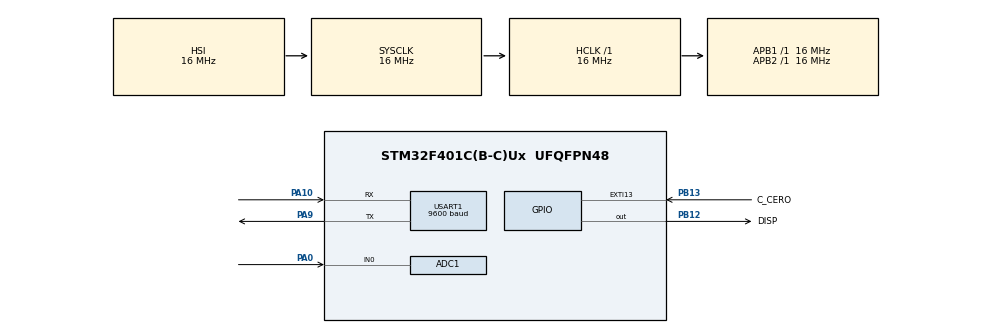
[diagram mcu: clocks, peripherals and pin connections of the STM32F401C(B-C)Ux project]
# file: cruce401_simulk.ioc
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ADC1.Channel-0\#ChannelRegularConversion=ADC_CHANNEL_0
ADC1.NbrOfConversionFlag=1
ADC1.Rank-0\#ChannelRegularConversion=1
ADC1.SamplingTime-0\#ChannelRegularConversion=ADC_SAMPLETIME_3CYCLES
ADC1.master=1
Dma.Request0=USART1_RX
Dma.USART1_RX.0.Direction=DMA_PERIPH_TO_MEMORY
Dma.USART1_RX.0.FIFOMode=DMA_FIFOMODE_DISABLE
Dma.USART1_RX.0.Instance=DMA2_Stream2
Dma.USART1_RX.0.MemDataAlignment=DMA_MDATAALIGN_BYTE
Dma.USART1_RX.0.MemInc=DMA_MINC_ENABLE
Dma.USART1_RX.0.Mode=DMA_NORMAL
Dma.USART1_RX.0.PeriphDataAlignment=DMA_PDATAALIGN_BYTE
Dma.USART1_RX.0.PeriphInc=DMA_PINC_DISABLE
Dma.USART1_RX.0.Priority=DMA_PRIORITY_LOW
Mcu.Family=STM32F4
Mcu.Name=STM32F401C(B-C)Ux
Mcu.Package=UFQFPN48
NVIC.DMA2_Stream2_IRQn=true\:0\:0\:false\:false\:true\:false\:true\:true
NVIC.EXTI15_10_IRQn=true\:0\:0\:false\:false\:true\:true\:true\:true
NVIC.PriorityGroup=NVIC_PRIORITYGROUP_4
NVIC.TIM5_IRQn=true\:0\:0\:false\:false\:true\:true\:true\:true
NVIC.USART1_IRQn=true\:0\:0\:false\:false\:true\:true\:true\:true
PA0-WKUP.Signal=ADCx_IN0
PA10.Mode=Asynchronous
PA10.Signal=USART1_RX
PA9.Mode=Asynchronous
PA9.Signal=USART1_TX
PB12.GPIO_Label=DISP
PB12.Signal=GPIO_Output
PB13.GPIO_Label=C_CERO
PB13.Signal=GPXTI13
ProjectManager.HeapSize=0x200
ProjectManager.StackSize=0x400
ProjectManager.TargetToolchain=STM32CubeIDE
RCC.AHBFreq_Value=16000000
RCC.APB1Freq_Value=16000000
RCC.APB2Freq_Value=16000000
RCC.CortexFreq_Value=16000000
RCC.HSE_VALUE=25000000
RCC.HSI_VALUE=16000000
RCC.LSE_VALUE=32768
RCC.SYSCLKFreq_VALUE=16000000
RCC.VCOOutputFreq_Value=192000000
SH.ADCx_IN0.0=ADC1_IN0,IN0
TIM5.Period=10000
TIM5.Prescaler=16-1
USART1.BaudRate=9600
USART1.VirtualMode=VM_ASYNC
VP_TIM5_VS_ClockSourceINT.Mode=Internal
board=custom

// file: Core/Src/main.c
/* USER CODE BEGIN Header */
/**
  ******************************************************************************
  * @file           : main.c
  * @brief          : Main program body
  ******************************************************************************
  * @attention
  *
  * Copyright (c) 2025 STMicroelectronics.
  * All rights reserved.
  *
  * This software is licensed under terms that can be found in the LICENSE file
  * in the root directory of this software component.
  * If no LICENSE file comes with this software, it is provided AS-IS.
  *
  ******************************************************************************
  */
/* USER CODE END Header */
#include "main.h"

/* USER CODE BEGIN Includes */
#include "pinout1.h"
#include "uart.h"
#include "delays.h"
#include "adc.h"
#include "MAP_.h"
#include "CRUCE_CERO.h"
#include "uart_int_idle_dma.h"

#include "stdio.h"
#include "stdint.h"
#include "string.h"
#include "stdlib.h"
/* USER CODE END Includes */

ADC_HandleTypeDef hadc1;

TIM_HandleTypeDef htim5;

UART_HandleTypeDef huart1;
DMA_HandleTypeDef hdma_usart1_rx;

/* USER CODE BEGIN PV */
char texto[100];
uint16_t codigo;
float tiempo,potencia,tiempo1;

/* USER CODE END PV */

void SystemClock_Config(void);
static void MX_GPIO_Init(void);
static void MX_DMA_Init(void);
static void MX_ADC1_Init(void);
static void MX_TIM5_Init(void);
static void MX_USART1_UART_Init(void);

/* USER CODE BEGIN 0 */
void procesa_rx()
{
	 //  P=50/
	 if (strstr(trama_rx,"P="))
		    {
		  strcpy(procesa, strtok(trama_rx, "="));  //inicia captura de tokens desde el =
			strcpy(procesa, strtok(0, "/"));  //captura hasta el /
			    //pasa la cadena a  numero
		    potencia=atoi(procesa);
				    }

}
/* USER CODE END 0 */

int main(void)
{

  /* MCU Configuration--------------------------------------------------------*/

  /* Reset of all peripherals, Initializes the Flash interface and the Systick. */
  HAL_Init();

  /* Configure the system clock */
  SystemClock_Config();

  /* Initialize all configured peripherals */
  MX_GPIO_Init();
  MX_DMA_Init();
  MX_ADC1_Init();
  MX_TIM5_Init();
  MX_USART1_UART_Init();
  /* USER CODE BEGIN 2 */

  cruce_init();
  uartdat_it_idle_dma_init();
  /* USER CODE END 2 */

  /* Infinite loop */
  /* USER CODE BEGIN WHILE */
  while (1)
  {

	  if(flag_rx==1)
	       {
			  procesa_rx();
			  tiempo1=map(potencia,0,100,LIM_SUP, LIM_INF);

			  flag_rx=0;
			 uartdat_it_idle_dma_init();
			 }

	  codigo=ADC_Read();
	  tiempo=map(codigo,0,4095,LIM_SUP, LIM_INF);
	  	  sprintf(texto,"VALOR=%u\r\n",codigo);
	  uartx_write_text(&huart1, texto);

	  sprintf(texto,"float=%.1f\r\n\r\n",tiempo);
 	  uartx_write_text(&huart1, texto);

 	 sprintf(texto,"POTENCIA=%.1f\r\n\r\n",potencia);
 	 	  	  uartx_write_text(&huart1, texto);

 		  sprintf(texto,"TEM1=%.1f\r\n\r\n\r\n",tiempo1);
 	 	  uartx_write_text(&huart1, texto);

	  Cruce_set(&tiempo1);
	  HAL_Delay(500);

    /* USER CODE END WHILE */

  }
}

void SystemClock_Config(void)
{
  RCC_OscInitTypeDef RCC_OscInitStruct = {0};
  RCC_ClkInitTypeDef RCC_ClkInitStruct = {0};

  /** Configure the main internal regulator output voltage
  */
  __HAL_RCC_PWR_CLK_ENABLE();
  __HAL_PWR_VOLTAGESCALING_CONFIG(PWR_REGULATOR_VOLTAGE_SCALE2);

  /** Initializes the RCC Oscillators according to the specified parameters
  * in the RCC_OscInitTypeDef structure.
  */
  RCC_OscInitStruct.OscillatorType = RCC_OSCILLATORTYPE_HSI;
  RCC_OscInitStruct.HSIState = RCC_HSI_ON;
  RCC_OscInitStruct.HSICalibrationValue = RCC_HSICALIBRATION_DEFAULT;
  RCC_OscInitStruct.PLL.PLLState = RCC_PLL_NONE;
  if (HAL_RCC_OscConfig(&RCC_OscInitStruct) != HAL_OK)
  {
    Error_Handler();
  }

  /** Initializes the CPU, AHB and APB buses clocks
  */
  RCC_ClkInitStruct.ClockType = RCC_CLOCKTYPE_HCLK|RCC_CLOCKTYPE_SYSCLK
                              |RCC_CLOCKTYPE_PCLK1|RCC_CLOCKTYPE_PCLK2;
  RCC_ClkInitStruct.SYSCLKSource = RCC_SYSCLKSOURCE_HSI;
  RCC_ClkInitStruct.AHBCLKDivider = RCC_SYSCLK_DIV1;
  RCC_ClkInitStruct.APB1CLKDivider = RCC_HCLK_DIV1;
  RCC_ClkInitStruct.APB2CLKDivider = RCC_HCLK_DIV1;

  if (HAL_RCC_ClockConfig(&RCC_ClkInitStruct, FLASH_LATENCY_0) != HAL_OK)
  {
    Error_Handler();
  }
}

static void MX_ADC1_Init(void)
{

  ADC_ChannelConfTypeDef sConfig = {0};

  /** Configure the global features of the ADC (Clock, Resolution, Data Alignment and number of conversion)
  */
  hadc1.Instance = ADC1;
  hadc1.Init.ClockPrescaler = ADC_CLOCK_SYNC_PCLK_DIV2;
  hadc1.Init.Resolution = ADC_RESOLUTION_12B;
  hadc1.Init.ScanConvMode = DISABLE;
  hadc1.Init.ContinuousConvMode = DISABLE;
  hadc1.Init.DiscontinuousConvMode = DISABLE;
  hadc1.Init.ExternalTrigConvEdge = ADC_EXTERNALTRIGCONVEDGE_NONE;
  hadc1.Init.ExternalTrigConv = ADC_SOFTWARE_START;
  hadc1.Init.DataAlign = ADC_DATAALIGN_RIGHT;
  hadc1.Init.NbrOfConversion = 1;
  hadc1.Init.DMAContinuousRequests = DISABLE;
  hadc1.Init.EOCSelection = ADC_EOC_SINGLE_CONV;
  if (HAL_ADC_Init(&hadc1) != HAL_OK)
  {
    Error_Handler();
  }

  /** Configure for the selected ADC regular channel its corresponding rank in the sequencer and its sample time.
  */
  sConfig.Channel = ADC_CHANNEL_0;
  sConfig.Rank = 1;
  sConfig.SamplingTime = ADC_SAMPLETIME_3CYCLES;
  if (HAL_ADC_ConfigChannel(&hadc1, &sConfig) != HAL_OK)
  {
    Error_Handler();
  }

}

static void MX_TIM5_Init(void)
{

  TIM_ClockConfigTypeDef sClockSourceConfig = {0};
  TIM_MasterConfigTypeDef sMasterConfig = {0};

  htim5.Instance = TIM5;
  htim5.Init.Prescaler = 16-1;
  htim5.Init.CounterMode = TIM_COUNTERMODE_UP;
  htim5.Init.Period = 10000;
  htim5.Init.ClockDivision = TIM_CLOCKDIVISION_DIV1;
  htim5.Init.AutoReloadPreload = TIM_AUTORELOAD_PRELOAD_DISABLE;
  if (HAL_TIM_Base_Init(&htim5) != HAL_OK)
  {
    Error_Handler();
  }
  sClockSourceConfig.ClockSource = TIM_CLOCKSOURCE_INTERNAL;
  if (HAL_TIM_ConfigClockSource(&htim5, &sClockSourceConfig) != HAL_OK)
  {
    Error_Handler();
  }
  sMasterConfig.MasterOutputTrigger = TIM_TRGO_RESET;
  sMasterConfig.MasterSlaveMode = TIM_MASTERSLAVEMODE_DISABLE;
  if (HAL_TIMEx_MasterConfigSynchronization(&htim5, &sMasterConfig) != HAL_OK)
  {
    Error_Handler();
  }

}

static void MX_USART1_UART_Init(void)
{

  huart1.Instance = USART1;
  huart1.Init.BaudRate = 9600;
  huart1.Init.WordLength = UART_WORDLENGTH_8B;
  huart1.Init.StopBits = UART_STOPBITS_1;
  huart1.Init.Parity = UART_PARITY_NONE;
  huart1.Init.Mode = UART_MODE_TX_RX;
  huart1.Init.HwFlowCtl = UART_HWCONTROL_NONE;
  huart1.Init.OverSampling = UART_OVERSAMPLING_16;
  if (HAL_UART_Init(&huart1) != HAL_OK)
  {
    Error_Handler();
  }

}

static void MX_DMA_Init(void)
{

  /* DMA controller clock enable */
  __HAL_RCC_DMA2_CLK_ENABLE();

  /* DMA interrupt init */
  /* DMA2_Stream2_IRQn interrupt configuration */
  HAL_NVIC_SetPriority(DMA2_Stream2_IRQn, 0, 0);
  HAL_NVIC_EnableIRQ(DMA2_Stream2_IRQn);

}

static void MX_GPIO_Init(void)
{
  GPIO_InitTypeDef GPIO_InitStruct = {0};

  /* GPIO Ports Clock Enable */
  __HAL_RCC_GPIOA_CLK_ENABLE();
  __HAL_RCC_GPIOB_CLK_ENABLE();

  /*Configure GPIO pin Output Level */
  HAL_GPIO_WritePin(DISP_GPIO_Port, DISP_Pin, GPIO_PIN_RESET);

  /*Configure GPIO pin : DISP_Pin */
  GPIO_InitStruct.Pin = DISP_Pin;
  GPIO_InitStruct.Mode = GPIO_MODE_OUTPUT_PP;
  GPIO_InitStruct.Pull = GPIO_NOPULL;
  GPIO_InitStruct.Speed = GPIO_SPEED_FREQ_LOW;
  HAL_GPIO_Init(DISP_GPIO_Port, &GPIO_InitStruct);

  /*Configure GPIO pin : C_CERO_Pin */
  GPIO_InitStruct.Pin = C_CERO_Pin;
  GPIO_InitStruct.Mode = GPIO_MODE_IT_RISING;
  GPIO_InitStruct.Pull = GPIO_NOPULL;
  HAL_GPIO_Init(C_CERO_GPIO_Port, &GPIO_InitStruct);

  /* EXTI interrupt init*/
  HAL_NVIC_SetPriority(EXTI15_10_IRQn, 0, 0);
  HAL_NVIC_EnableIRQ(EXTI15_10_IRQn);

}

void Error_Handler(void)
{
  __disable_irq();
  while (1)
  {
  }
}
